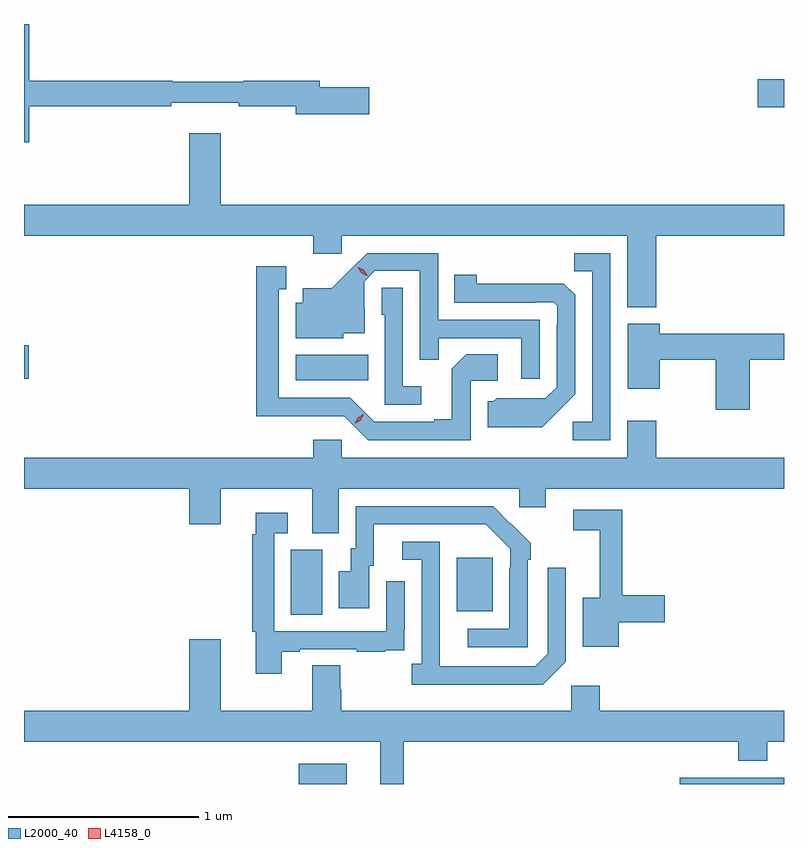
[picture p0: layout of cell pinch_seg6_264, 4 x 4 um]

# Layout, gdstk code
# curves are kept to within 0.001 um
import gdstk
lib = gdstk.Library(unit=1e-6, precision=1e-09)
def R(c, l, rs):  # rectangles x0, y0, x1, y1
    for r in rs: c.add(gdstk.rectangle(r[:2], r[2:], *l))
def P(c, l, *ps):  # polygons
    for p in ps: c.add(gdstk.Polygon(p, *l))
L2000_40 = (2000, 40)
L4158_0 = (4158, 0)

pinch_seg6_264 = lib.new_cell('pinch_seg6_264')
R(pinch_seg6_264, L2000_40, [(884.864,985.742,885.115,985.849), (886.869,985.742,887.417,985.776), (884.822,986.632,884.986,986.976), (885.695,986.651,885.883,986.932), (884.846,987.866,885.23,988), (883.417,987.874,883.441,988.052), (887.28,989.303,887.417,989.45)])
P(pinch_seg6_264, L2000_40, [(883.445,989.308),(884.192,989.308),(884.192,989.327),(884.548,989.327),(884.548,989.308),(884.846,989.308),(884.846,989.266),(885.235,989.266),(885.235,989.408),(884.974,989.408),(884.974,989.444),(884.57,989.444),(884.57,989.437),(884.199,989.437),(884.199,989.444),(883.445,989.444),(883.445,989.742),(883.417,989.742),(883.417,989.12),(883.445,989.12)],
  [(886.745,988.628),(887.417,988.628),(887.417,988.792),(884.452,988.792),(884.452,989.167),(884.288,989.167),(884.288,988.792),(883.417,988.792),(883.417,988.628),(884.939,988.628),(884.939,988.533),(885.09,988.533),(885.09,988.628),(886.592,988.628),(886.592,988.25),(886.745,988.25)],
  [(886.131,988.185),(885.597,988.185),(885.597,988.536),(885.224,988.536),(885.037,988.351),(884.885,988.351),(884.885,988.275),(884.846,988.275),(884.846,988.088),(885.096,988.088),(885.096,988.115),(885.211,988.115),(885.211,988.244),(885.207,988.244),(885.207,988.386),(885.264,988.443),(885.501,988.443),(885.501,987.976),(885.599,987.976),(885.599,988.089),(886.035,988.089),(886.035,987.876),(886.131,987.876)],
  [(886.503,988.536),(886.312,988.536),(886.312,988.441),(886.407,988.441),(886.407,987.648),(886.305,987.648),(886.305,987.552),(886.503,987.552)],
  [(885.768,987.864),(885.91,987.864),(885.91,988.004),(885.745,988.004),(885.669,987.928),(885.669,987.661),(885.575,987.661),(885.575,987.648),(885.261,987.648),(885.135,987.774),(884.758,987.774),(884.758,988.347),(884.797,988.347),(884.797,988.468),(884.64,988.468),(884.64,987.677),(885.102,987.678),(885.228,987.552),(885.768,987.552)],
  [(886.225,987.701),(886.317,987.794),(886.317,988.316),(886.258,988.375),(885.801,988.376),(885.801,988.423),(885.682,988.423),(885.682,988.275),(886.106,988.275),(886.106,988.278),(886.206,988.278),(886.224,988.26),(886.224,988.16),(886.221,988.16),(886.221,987.831),(886.161,987.771),(885.904,987.772),(885.888,987.756),(885.857,987.756),(885.857,987.62),(886.145,987.62)],
  [(885.508,987.835),(885.411,987.835),(885.411,988.355),(885.3,988.355),(885.3,988.212),(885.315,988.212),(885.315,987.738),(885.508,987.738)],
  [(887.237,987.976),(887.417,987.976),(887.417,988.112),(886.762,988.112),(886.762,988.165),(886.595,988.165),(886.595,987.822),(886.762,987.822),(886.762,987.976),(887.059,987.976),(887.059,987.711),(887.237,987.711)],
  [(885.073,987.296),(886.023,987.296),(886.023,987.198),(886.162,987.198),(886.162,987.296),(887.417,987.296),(887.417,987.46),(886.745,987.46),(886.745,987.655),(886.592,987.655),(886.592,987.46),(885.09,987.46),(885.09,987.553),(884.939,987.553),(884.939,987.46),(883.417,987.46),(883.417,987.296),(884.288,987.296),(884.288,987.108),(884.452,987.108),(884.452,987.296),(884.933,987.296),(884.933,987.061),(885.073,987.061)],
  [(886.068,986.921),(886.083,986.921),(886.083,987.009),(885.886,987.204),(885.162,987.204),(885.162,986.982),(885.137,986.982),(885.137,986.863),(885.074,986.863),(885.074,986.667),(885.235,986.667),(885.235,986.892),(885.259,986.892),(885.259,987.108),(885.847,987.108),(885.975,986.979),(885.975,986.879),(885.972,986.879),(885.972,986.559),(885.753,986.559),(885.753,986.463),(886.068,986.463)],
  [(886.546,986.593),(886.789,986.593),(886.789,986.735),(886.565,986.735),(886.565,987.186),(886.308,987.186),(886.308,987.078),(886.448,987.078),(886.448,986.722),(886.358,986.722),(886.358,986.465),(886.546,986.465)],
  [(884.773,986.439),(884.869,986.439),(884.869,986.451),(885.169,986.451),(885.169,986.439),(885.317,986.439),(885.317,986.445),(885.419,986.445),(885.419,986.554),(885.42,986.554),(885.42,986.809),(885.324,986.809),(885.324,986.547),(884.733,986.547),(884.733,987.063),(884.806,987.063),(884.806,987.169),(884.636,987.169),(884.636,987.056),(884.617,987.056),(884.617,986.544),(884.636,986.544),(884.636,986.322),(884.773,986.322)],
  [(886.269,986.385),(886.269,986.881),(886.173,986.881),(886.173,986.427),(886.107,986.361),(885.606,986.361),(885.606,987.018),(885.408,987.018),(885.408,986.922),(885.51,986.922),(885.51,986.374),(885.459,986.374),(885.459,986.264),(886.148,986.264)],
  [(885.415,985.964),(887.177,985.964),(887.177,985.865),(887.329,985.865),(887.329,985.964),(887.417,985.964),(887.417,986.128),(886.448,986.128),(886.448,986.26),(886.296,986.26),(886.296,986.128),(885.086,986.128),(885.086,986.241),(885.081,986.241),(885.081,986.366),(884.933,986.366),(884.933,986.128),(884.452,986.128),(884.452,986.503),(884.288,986.503),(884.288,986.128),(883.417,986.128),(883.417,985.964),(885.293,985.964),(885.293,985.742),(885.415,985.742)])
P(pinch_seg6_264, L4158_0, [(885.222,988.418),(885.192,988.433),(885.174,988.462),(885.174,988.463),(885.175,988.463),(885.205,988.448),(885.223,988.419),(885.223,988.418)],
  [(885.157,987.637),(885.157,987.637),(885.174,987.67),(885.206,987.69),(885.206,987.69),(885.206,987.689),(885.189,987.657),(885.158,987.637)])

lib.write_gds('pinch_seg6_264.gds')
